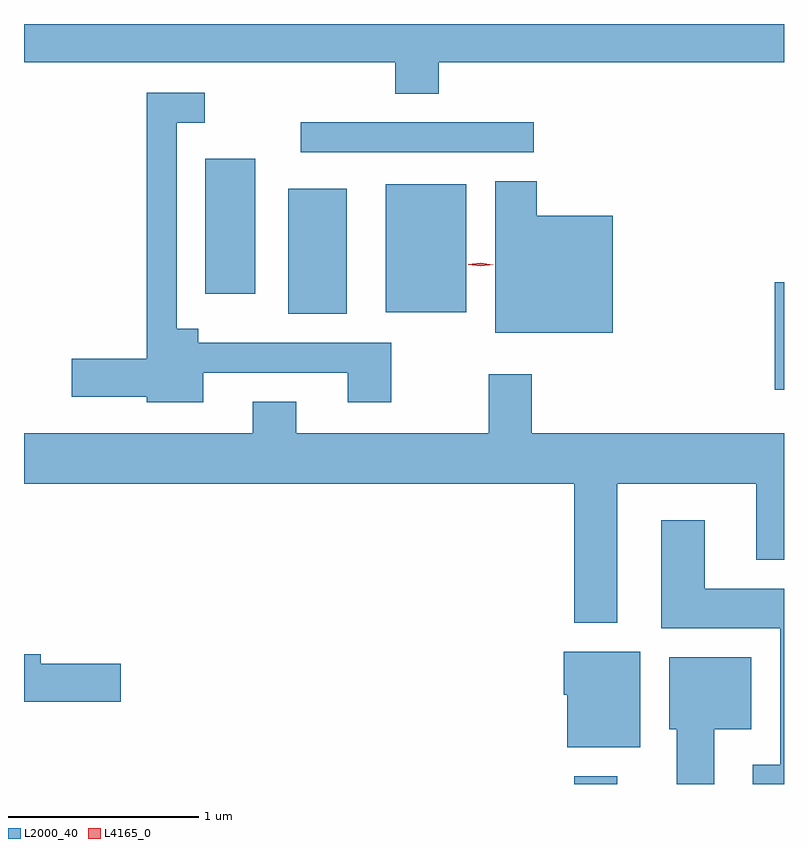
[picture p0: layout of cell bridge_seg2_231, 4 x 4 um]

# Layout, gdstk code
import gdstk
lib = gdstk.Library(unit=1e-6, precision=1e-09)
def R(c, l, rs):  # rectangles x0, y0, x1, y1
    for r in rs: c.add(gdstk.rectangle(r[:2], r[2:], *l))
def P(c, l, *ps):  # polygons
    for p in ps: c.add(gdstk.Polygon(p, *l))
L2000_40 = (2000, 40)
L4165_0 = (4165, 0)

bridge_seg2_231 = lib.new_cell('bridge_seg2_231')
R(bridge_seg2_231, L2000_40, [(603.451,1108.897,603.679,1108.939), (604.506,1110.971,604.556,1111.539), (601.946,1111.371,602.254,1112.029), (602.461,1111.381,602.884,1112.054), (601.511,1111.476,601.774,1112.189), (602.013,1112.221,603.238,1112.379)])
P(bridge_seg2_231, L2000_40, [(602.739,1112.696),(604.556,1112.696),(604.556,1112.897),(600.556,1112.897),(600.556,1112.696),(602.511,1112.696),(602.511,1112.531),(602.739,1112.531)],
  [(601.499,1111.061),(602.261,1111.061),(602.261,1110.906),(602.489,1110.906),(602.489,1111.219),(601.474,1111.219),(601.474,1111.294),(601.359,1111.294),(601.359,1112.376),(601.508,1112.376),(601.508,1112.534),(601.201,1112.534),(601.201,1111.134),(600.806,1111.134),(600.806,1110.936),(601.201,1110.936),(601.201,1110.906),(601.499,1110.906)],
  [(603.654,1111.889),(603.254,1111.889),(603.254,1112.069),(603.036,1112.069),(603.036,1111.271),(603.654,1111.271)],
  [(603.679,1110.476),(604.411,1110.476),(604.411,1110.076),(604.556,1110.076),(604.556,1110.744),(603.229,1110.744),(603.229,1111.054),(603.001,1111.054),(603.001,1110.744),(601.989,1110.744),(601.989,1110.909),(601.761,1110.909),(601.761,1110.744),(600.556,1110.744),(600.556,1110.476),(603.451,1110.476),(603.451,1109.746),(603.679,1109.746)],
  [(604.556,1109.924),(604.139,1109.924),(604.139,1110.284),(603.911,1110.284),(603.911,1109.716),(604.536,1109.716),(604.536,1108.999),(604.391,1108.999),(604.391,1108.897),(604.556,1108.897)],
  [(603.799,1109.594),(603.396,1109.594),(603.396,1109.366),(603.416,1109.366),(603.416,1109.091),(603.799,1109.091)],
  [(601.064,1109.529),(600.644,1109.529),(600.644,1109.579),(600.556,1109.579),(600.556,1109.331),(601.064,1109.331)],
  [(604.189,1109.186),(604.384,1109.186),(604.384,1109.564),(603.951,1109.564),(603.951,1109.186),(603.991,1109.186),(603.991,1108.897),(604.189,1108.897)])
P(bridge_seg2_231, L4165_0, [(602.96,1111.621),(602.894,1111.631),(602.894,1111.631),(602.894,1111.632),(602.96,1111.641),(603.025,1111.631),(603.025,1111.63),(603.025,1111.63)])

lib.write_gds('bridge_seg2_231.gds')
